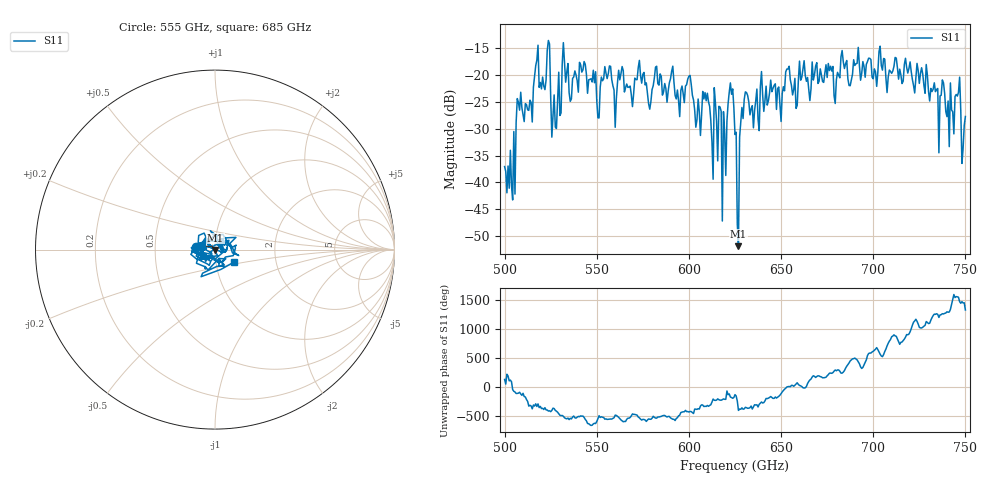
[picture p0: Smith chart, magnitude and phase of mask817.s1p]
!Created with skrf (http://scikit-rf.org).
# GHz S MA R 50.0
!freq magS11 angS11
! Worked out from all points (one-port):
!   401 points, 500 GHz to 750 GHz, reference 50 ohm
!   lowest |S11| = -51.9 dB at 626.9 GHz (marker M1), VSWR 1.01, Z = 50.2 - j0.168 ohm
!   |S11| at or under -10 dB: start of sweep to end of sweep
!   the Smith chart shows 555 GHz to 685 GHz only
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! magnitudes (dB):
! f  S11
! 500 GHz  -37.1
! 504.4 GHz  -43.3
! 507.5 GHz  -25.1
! 513.8 GHz  -24.7
! 516.9 GHz  -18.3
! 523.8 GHz  -13.5
! 526.9 GHz  -23.7
! 531.2 GHz  -18.0
! 542.5 GHz  -19.0
! 551.2 GHz  -28.0
! 562.5 GHz  -20.9
! 590.6 GHz  -19.3
! 593.8 GHz  -22.8
! 600 GHz  -20.2
! 605 GHz  -24.5
! 608.8 GHz  -23.3
! 619.4 GHz  -30.6
! 622.5 GHz  -21.5
! 625 GHz  -31.1
! 626.9 GHz  -51.9
! 628.8 GHz  -26.0
! 631.2 GHz  -23.3
! 656.2 GHz  -23.7
! 687.5 GHz  -22.0
! 718.8 GHz  -19.6
! 742.5 GHz  -26.5
! 745.6 GHz  -23.9
! 750 GHz  -27.7
